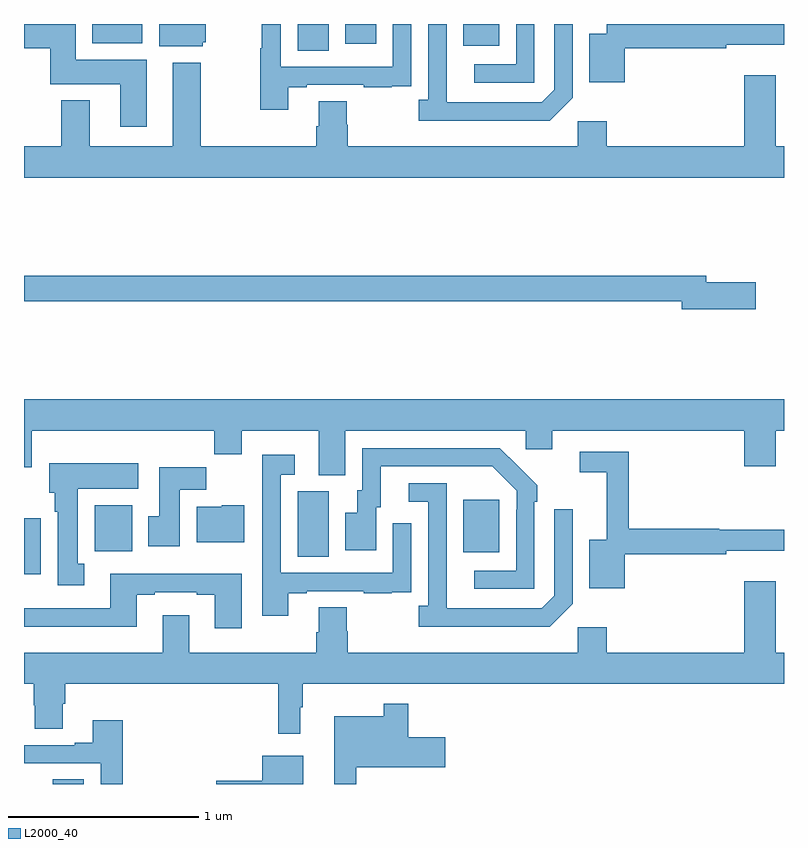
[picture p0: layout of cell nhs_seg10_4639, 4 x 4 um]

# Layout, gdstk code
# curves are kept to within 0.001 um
import gdstk
lib = gdstk.Library(unit=1e-6, precision=1e-09)
def R(c, l, rs):  # rectangles x0, y0, x1, y1
    for r in rs: c.add(gdstk.rectangle(r[:2], r[2:], *l))
def P(c, l, *ps):  # polygons
    for p in ps: c.add(gdstk.Polygon(p, *l))
L2000_40 = (2000, 40)

nhs_seg10_4639 = lib.new_cell('nhs_seg10_4639')
R(nhs_seg10_4639, L2000_40, [(377.15,1254.5,377.314,1254.524), (377,1255.604,377.089,1255.9), (378.44,1255.696,378.604,1256.04), (379.313,1255.721,379.501,1255.996), (377.372,1255.724,377.569,1255.966), (378.44,1258.36,378.604,1258.5), (379.313,1258.385,379.501,1258.5), (378.692,1258.395,378.853,1258.5), (377.36,1258.4,377.623,1258.5)])
P(nhs_seg10_4639, L2000_40, [(377.94,1258.404),(377.956,1258.404),(377.956,1258.5),(377.711,1258.5),(377.711,1258.382),(377.94,1258.382)],
  [(377.647,1258.312),(377.272,1258.312),(377.272,1258.5),(377,1258.5),(377,1258.372),(377.138,1258.372),(377.138,1258.184),(377.507,1258.184),(377.507,1257.96),(377.647,1257.96)],
  [(378.391,1258.167),(378.487,1258.167),(378.487,1258.179),(378.787,1258.179),(378.787,1258.167),(378.935,1258.167),(378.935,1258.173),(379.037,1258.173),(379.037,1258.282),(379.038,1258.282),(379.038,1258.5),(378.942,1258.5),(378.942,1258.275),(378.351,1258.275),(378.351,1258.5),(378.25,1258.5),(378.25,1258.372),(378.243,1258.372),(378.243,1258.05),(378.391,1258.05)],
  [(380.163,1258.372),(380.696,1258.372),(380.696,1258.391),(381,1258.391),(381,1258.5),(380.066,1258.5),(380.066,1258.45),(379.976,1258.45),(379.976,1258.193),(380.163,1258.193)],
  [(379.686,1258.5),(379.59,1258.5),(379.59,1258.287),(379.371,1258.287),(379.371,1258.191),(379.686,1258.191)],
  [(379.887,1258.113),(379.887,1258.5),(379.791,1258.5),(379.791,1258.155),(379.725,1258.089),(379.225,1258.089),(379.224,1258.5),(379.128,1258.5),(379.128,1258.102),(379.077,1258.102),(379.077,1257.992),(379.766,1257.992)],
  [(381,1257.856),(380.956,1257.856),(380.956,1258.231),(380.792,1258.231),(380.792,1257.856),(380.066,1257.856),(380.066,1257.988),(379.914,1257.988),(379.914,1257.856),(378.704,1257.856),(378.704,1257.969),(378.699,1257.969),(378.699,1258.094),(378.551,1258.094),(378.551,1257.962),(378.539,1257.962),(378.539,1257.856),(377.931,1257.856),(377.931,1258.297),(377.783,1258.297),(377.783,1257.856),(377.347,1257.856),(377.347,1258.099),(377.195,1258.099),(377.195,1257.856),(377,1257.856),(377,1257.692),(381,1257.692)],
  [(380.851,1257.14),(380.59,1257.14),(380.59,1257.176),(377,1257.176),(377,1257.04),(380.462,1257.04),(380.462,1256.998),(380.851,1256.998)],
  [(378.691,1256.36),(379.641,1256.36),(379.641,1256.262),(379.78,1256.262),(379.78,1256.36),(380.792,1256.36),(380.792,1256.172),(380.956,1256.172),(380.956,1256.36),(381,1256.36),(381,1256.524),(377,1256.524),(377,1256.166),(377.041,1256.166),(377.041,1256.36),(378.001,1256.36),(378.001,1256.236),(378.145,1256.236),(378.145,1256.36),(378.551,1256.36),(378.551,1256.125),(378.691,1256.125)],
  [(379.686,1255.985),(379.701,1255.985),(379.701,1256.073),(379.504,1256.268),(378.78,1256.268),(378.78,1256.046),(378.755,1256.046),(378.755,1255.927),(378.692,1255.927),(378.692,1255.731),(378.853,1255.731),(378.853,1255.956),(378.877,1255.956),(378.877,1256.172),(379.465,1256.172),(379.593,1256.043),(379.593,1255.943),(379.59,1255.943),(379.59,1255.623),(379.371,1255.623),(379.371,1255.527),(379.686,1255.527)],
  [(380.163,1255.708),(380.696,1255.708),(380.696,1255.727),(381,1255.727),(381,1255.837),(380.66,1255.837),(380.66,1255.844),(380.183,1255.844),(380.183,1256.25),(379.926,1256.25),(379.926,1256.142),(380.066,1256.142),(380.066,1255.786),(379.976,1255.786),(379.976,1255.529),(380.163,1255.529)],
  [(378.391,1255.503),(378.487,1255.503),(378.487,1255.515),(378.787,1255.515),(378.787,1255.503),(378.935,1255.503),(378.935,1255.509),(379.037,1255.509),(379.037,1255.618),(379.038,1255.618),(379.038,1255.873),(378.942,1255.873),(378.942,1255.611),(378.351,1255.611),(378.351,1256.127),(378.424,1256.127),(378.424,1256.233),(378.255,1256.233),(378.255,1255.386),(378.391,1255.386)],
  [(377.317,1255.658),(377.284,1255.658),(377.284,1256.054),(377.602,1256.054),(377.602,1256.188),(377.132,1256.188),(377.132,1256.034),(377.162,1256.034),(377.162,1255.934),(377.177,1255.934),(377.177,1255.545),(377.317,1255.545)],
  [(377.821,1256.048),(377.96,1256.048),(377.96,1256.167),(377.711,1256.167),(377.711,1255.908),(377.654,1255.908),(377.654,1255.752),(377.821,1255.752)],
  [(379.887,1255.449),(379.887,1255.945),(379.791,1255.945),(379.791,1255.491),(379.725,1255.425),(379.225,1255.425),(379.224,1256.082),(379.026,1256.082),(379.026,1255.986),(379.128,1255.986),(379.128,1255.438),(379.077,1255.438),(379.077,1255.328),(379.766,1255.328)],
  [(378.16,1255.966),(378.042,1255.966),(378.042,1255.96),(377.909,1255.96),(377.909,1255.772),(378.16,1255.772)],
  [(378.145,1255.606),(377.453,1255.606),(377.453,1255.425),(377,1255.425),(377,1255.328),(377.593,1255.328),(377.593,1255.497),(377.689,1255.497),(377.689,1255.509),(377.909,1255.509),(377.909,1255.497),(378.005,1255.497),(378.005,1255.32),(378.145,1255.32)],
  [(378.337,1254.765),(378.454,1254.765),(378.454,1254.905),(378.466,1254.905),(378.466,1255.028),(381,1255.028),(381,1255.192),(380.956,1255.192),(380.956,1255.567),(380.792,1255.567),(380.792,1255.192),(380.066,1255.192),(380.066,1255.324),(379.914,1255.324),(379.914,1255.192),(378.704,1255.192),(378.704,1255.305),(378.699,1255.305),(378.699,1255.43),(378.551,1255.43),(378.551,1255.298),(378.539,1255.298),(378.539,1255.192),(377.869,1255.192),(377.869,1255.387),(377.729,1255.387),(377.729,1255.192),(377,1255.192),(377,1255.028),(377.051,1255.028),(377.051,1254.915),(377.056,1254.915),(377.056,1254.79),(377.203,1254.79),(377.203,1254.922),(377.216,1254.922),(377.216,1255.028),(378.337,1255.028)],
  [(378.749,1254.587),(379.216,1254.587),(379.216,1254.745),(379.022,1254.745),(379.022,1254.922),(378.894,1254.922),(378.894,1254.856),(378.632,1254.856),(378.632,1254.5),(378.749,1254.5)],
  [(377.519,1254.835),(377.363,1254.835),(377.363,1254.718),(377.267,1254.718),(377.267,1254.705),(377,1254.705),(377,1254.609),(377.403,1254.609),(377.403,1254.5),(377.519,1254.5)],
  [(378.469,1254.649),(378.254,1254.649),(378.254,1254.518),(378.012,1254.518),(378.012,1254.5),(378.469,1254.5)])

lib.write_gds('nhs_seg10_4639.gds')
